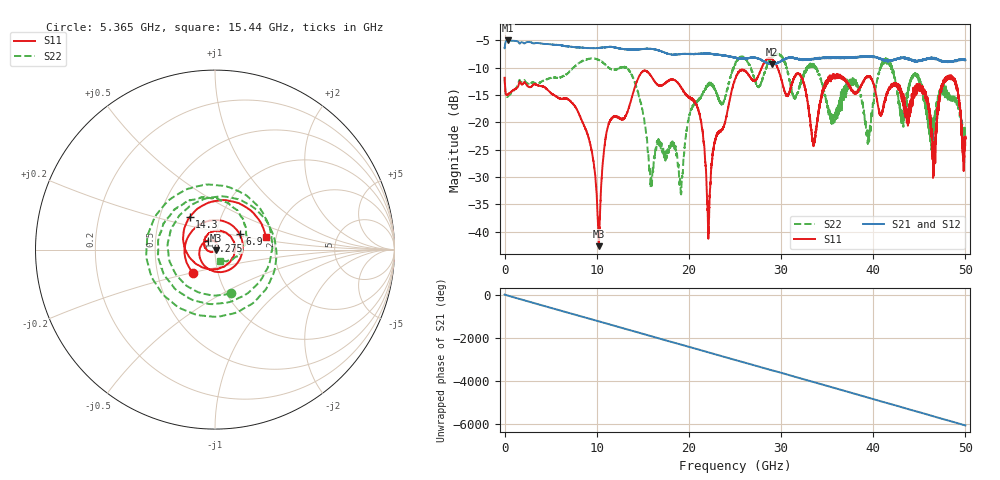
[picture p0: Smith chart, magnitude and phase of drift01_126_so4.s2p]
!Created with skrf (http://scikit-rf.org).
# Hz S RI R 50.0
!freq ReS11 ImS11 ReS21 ImS21 ReS12 ImS12 ReS22 ImS22
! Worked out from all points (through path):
!   10001 points, 300 kHz to 50 GHz, reference 50 ohm
!   highest |S21| = -5.05 dB at 345.3 MHz (marker M1); lowest = -9.4 dB at 28.98 GHz (marker M2)
!   group delay of S21, straight-line fit = 336 ps
!   lowest |S11| = -42.6 dB at 10.22 GHz (marker M3), VSWR 1.01, Z = 50.6 - j0.497 ohm
!   |S11| at or under -10 dB: start of sweep to 27.9 GHz; 29.6 GHz to end of sweep
!   |S22| runs from -33.2 to -7.5 dB; largest |S21 - S12| = 0.015
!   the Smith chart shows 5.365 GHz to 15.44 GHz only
!   S11 on the Smith chart (normalised r, x): 5.365 GHz: 0.76, -0.20; 6.9 GHz: 1.29, +0.23; 9.275 GHz: 0.92, +0.09; 14.3 GHz: 0.71, +0.27; 15.44 GHz: 1.77, +0.26
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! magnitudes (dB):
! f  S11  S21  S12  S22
! 300 kHz  -11.9  -6.5  -6.5  -11.8
! 345.3 MHz  -14.9  -5.1  -5.1  -15.3
! 5.365 GHz  -15.0  -5.8  -5.8  -11.8
! 6.9 GHz  -15.8  -6.1  -6.1  -11.0
! 8.335 GHz  -19.5  -6.3  -6.4  -8.9
! 9.275 GHz  -23.9  -6.4  -6.4  -8.3
! 10.22 GHz  -42.6  -6.4  -6.4  -8.6
! 11.23 GHz  -20.6  -6.2  -6.3  -9.9
! 14.3 GHz  -12.8  -6.7  -6.7  -13.5
! 15.44 GHz  -10.7  -6.6  -6.6  -22.8
! 16.67 GHz  -13.2  -6.9  -6.9  -23.4
! 19.14 GHz  -13.6  -7.5  -7.6  -33.2
! 20.85 GHz  -16.8  -7.6  -7.5  -16.2
! 22.13 GHz  -39.5  -7.5  -7.5  -13.3
! 25 GHz  -12.1  -8.2  -8.2  -9.5
! 28.98 GHz  -8.4  -9.4  -9.4  -8.2
! 33.34 GHz  -22.3  -8.5  -8.4  -9.6
! 39.47 GHz  -11.7  -8.0  -8.0  -22.1
! 41.67 GHz  -13.9  -8.7  -8.7  -9.0
! 46.55 GHz  -27.0  -8.3  -8.2  -21.3
! 48.56 GHz  -12.0  -8.8  -8.9  -15.7
! 50 GHz  -23.0  -8.7  -8.6  -23.1
